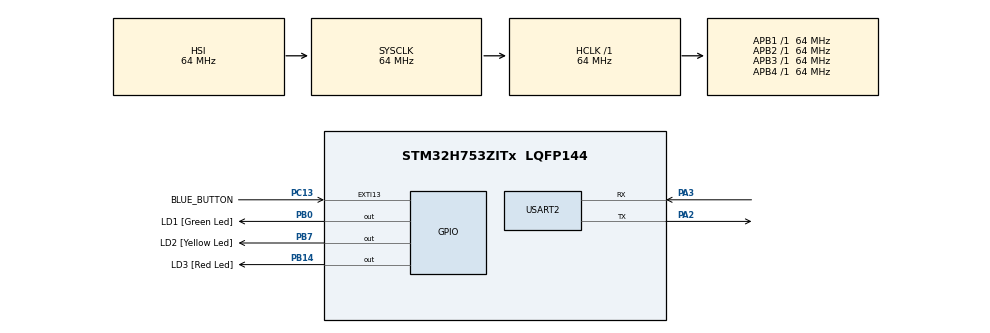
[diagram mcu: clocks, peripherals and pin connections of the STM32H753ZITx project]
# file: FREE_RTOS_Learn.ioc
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CORTEX_M7.CPU_DCache=Disabled
CORTEX_M7.CPU_ICache=Disabled
CORTEX_M7.MPU_Control=__NULL
CORTEX_M7.default_mode_Activation=1
FREERTOS.CountingSemaphores01=myCountingSem01,2,Dynamic,NULL,0
FREERTOS.Tasks01=Task1,24,256,StartTask1,Default,NULL,Dynamic,NULL,NULL;Task2,24,256,StartTask2,Default,NULL,Dynamic,NULL,NULL;Task3,24,256,StartTask3,Default,NULL,Dynamic,NULL,NULL
FREERTOS.configUSE_NEWLIB_REENTRANT=0
Mcu.Family=STM32H7
Mcu.Name=STM32H753ZITx
Mcu.Package=LQFP144
NVIC.EXTI15_10_IRQn=true\:5\:0\:false\:false\:true\:true\:true\:true\:true
NVIC.PriorityGroup=NVIC_PRIORITYGROUP_4
NVIC.TIM6_DAC_IRQn=true\:15\:0\:false\:false\:true\:false\:false\:true\:true
NVIC.TimeBase=TIM6_DAC_IRQn
NVIC.TimeBaseIP=TIM6
PA13\ (JTMS/SWDIO).Mode=Trace_Asynchronous_SW
PA13\ (JTMS/SWDIO).Signal=DEBUG_JTMS-SWDIO
PA14\ (JTCK/SWCLK).Mode=Trace_Asynchronous_SW
PA14\ (JTCK/SWCLK).Signal=DEBUG_JTCK-SWCLK
PA2.Mode=Asynchronous
PA2.Signal=USART2_TX
PA3.Mode=Asynchronous
PA3.Signal=USART2_RX
PB0.GPIO_Label=LD1 [Green Led]
PB0.Signal=GPIO_Output
PB14.GPIO_Label=LD3 [Red Led]
PB14.Signal=GPIO_Output
PB3\ (JTDO/TRACESWO).Mode=Trace_Asynchronous_SW
PB3\ (JTDO/TRACESWO).Signal=DEBUG_JTDO-SWO
PB7.GPIO_Label=LD2 [Yellow Led]
PB7.Signal=GPIO_Output
PC13.GPIO_Label=BLUE_BUTTON
PC13.Signal=GPXTI13
PC14-OSC32_IN\ (OSC32_IN).Signal=RCC_OSC32_IN
PC15-OSC32_OUT\ (OSC32_OUT).Signal=RCC_OSC32_OUT
PD8.GPIO_Label=STLINK_RX
PD8.Signal=USART3_TX
PD9.GPIO_Label=STLINK_TX
PD9.Signal=USART3_RX
PH0-OSC_IN\ (PH0).Signal=RCC_OSC_IN
PH1-OSC_OUT\ (PH1).Signal=RCC_OSC_OUT
ProjectManager.HeapSize=0x200
ProjectManager.StackSize=0x400
ProjectManager.TargetToolchain=STM32CubeIDE
RCC.ADCFreq_Value=129000000
RCC.APB1Freq_Value=64000000
RCC.APB2Freq_Value=64000000
RCC.APB3Freq_Value=64000000
RCC.APB4Freq_Value=64000000
RCC.CortexFreq_Value=64000000
RCC.DIVM1=1
RCC.DIVN1=24
RCC.DIVQ1=4
RCC.DIVR1=6
RCC.HCLKFreq_Value=64000000
RCC.HSE_VALUE=8000000
RCC.PLLFRACN=0
RCC.PWR_Regulator_Voltage_Scale=PWR_REGULATOR_VOLTAGE_SCALE2
RCC.SYSCLKFreq_VALUE=64000000
RCC.USBFreq_Value=384000000
USART2.DMADisableonRxErrorParam=ADVFEATURE_DMA_DISABLEONRXERROR
USART2.OverrunDisableParam=ADVFEATURE_OVERRUN_DISABLE
USART2.VirtualMode-Asynchronous=VM_ASYNC
VP_FREERTOS_VS_CMSIS_V2.Mode=CMSIS_V2
VP_MEMORYMAP_VS_MEMORYMAP.Mode=CurAppReg
VP_SYS_VS_tim6.Mode=TIM6
board=NUCLEO-H753ZI

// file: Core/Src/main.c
/* USER CODE BEGIN Header */
/**
  ******************************************************************************
  * @file           : main.c
  * @brief          : Main program body
  ******************************************************************************
  * @attention
  *
  * Copyright (c) 2026 STMicroelectronics.
  * All rights reserved.
  *
  * This software is licensed under terms that can be found in the LICENSE file
  * in the root directory of this software component.
  * If no LICENSE file comes with this software, it is provided AS-IS.
  *
  ******************************************************************************
  */
/* USER CODE END Header */
#include "main.h"
#include "cmsis_os.h"

UART_HandleTypeDef huart2;

/* Definitions for Task1 */
osThreadId_t Task1Handle;
const osThreadAttr_t Task1_attributes = {
  .name = "Task1",
  .stack_size = 256 * 4,
  .priority = (osPriority_t) osPriorityNormal,
};
/* Definitions for Task2 */
osThreadId_t Task2Handle;
const osThreadAttr_t Task2_attributes = {
  .name = "Task2",
  .stack_size = 256 * 4,
  .priority = (osPriority_t) osPriorityNormal,
};
/* Definitions for Task3 */
osThreadId_t Task3Handle;
const osThreadAttr_t Task3_attributes = {
  .name = "Task3",
  .stack_size = 256 * 4,
  .priority = (osPriority_t) osPriorityNormal,
};
/* Definitions for myCountingSem01 */
osSemaphoreId_t myCountingSem01Handle;
const osSemaphoreAttr_t myCountingSem01_attributes = {
  .name = "myCountingSem01"
};

void SystemClock_Config(void);
static void MX_GPIO_Init(void);
static void MX_USART2_UART_Init(void);
void StartTask1(void *argument);
void StartTask2(void *argument);
void StartTask3(void *argument);

/* USER CODE BEGIN PFP */
void Task_action(char message);
/* USER CODE END PFP */

int main(void)
{

  /* MCU Configuration--------------------------------------------------------*/

  /* Reset of all peripherals, Initializes the Flash interface and the Systick. */
  HAL_Init();

  /* Configure the system clock */
  SystemClock_Config();

  /* Initialize all configured peripherals */
  MX_GPIO_Init();
  MX_USART2_UART_Init();

  /* Init scheduler */
  osKernelInitialize();

  /* Create the semaphores(s) */
  /* creation of myCountingSem01 */
  myCountingSem01Handle = osSemaphoreNew(2, 0, &myCountingSem01_attributes);

  /* Create the thread(s) */
  /* creation of Task1 */
  Task1Handle = osThreadNew(StartTask1, NULL, &Task1_attributes);

  /* creation of Task2 */
  Task2Handle = osThreadNew(StartTask2, NULL, &Task2_attributes);

  /* creation of Task3 */
  Task3Handle = osThreadNew(StartTask3, NULL, &Task3_attributes);

  /* Start scheduler */
  osKernelStart();

  /* We should never get here as control is now taken by the scheduler */

  /* Infinite loop */
  while (1)
  {

  }
}

void SystemClock_Config(void)
{
  RCC_OscInitTypeDef RCC_OscInitStruct = {0};
  RCC_ClkInitTypeDef RCC_ClkInitStruct = {0};

  /** Supply configuration update enable
  */
  HAL_PWREx_ConfigSupply(PWR_LDO_SUPPLY);

  /** Configure the main internal regulator output voltage
  */
  __HAL_PWR_VOLTAGESCALING_CONFIG(PWR_REGULATOR_VOLTAGE_SCALE2);

  while(!__HAL_PWR_GET_FLAG(PWR_FLAG_VOSRDY)) {}

  /** Initializes the RCC Oscillators according to the specified parameters
  * in the RCC_OscInitTypeDef structure.
  */
  RCC_OscInitStruct.OscillatorType = RCC_OSCILLATORTYPE_HSI;
  RCC_OscInitStruct.HSIState = RCC_HSI_DIV1;
  RCC_OscInitStruct.HSICalibrationValue = RCC_HSICALIBRATION_DEFAULT;
  RCC_OscInitStruct.PLL.PLLState = RCC_PLL_NONE;
  if (HAL_RCC_OscConfig(&RCC_OscInitStruct) != HAL_OK)
  {
    Error_Handler();
  }

  /** Initializes the CPU, AHB and APB buses clocks
  */
  RCC_ClkInitStruct.ClockType = RCC_CLOCKTYPE_HCLK|RCC_CLOCKTYPE_SYSCLK
                              |RCC_CLOCKTYPE_PCLK1|RCC_CLOCKTYPE_PCLK2
                              |RCC_CLOCKTYPE_D3PCLK1|RCC_CLOCKTYPE_D1PCLK1;
  RCC_ClkInitStruct.SYSCLKSource = RCC_SYSCLKSOURCE_HSI;
  RCC_ClkInitStruct.SYSCLKDivider = RCC_SYSCLK_DIV1;
  RCC_ClkInitStruct.AHBCLKDivider = RCC_HCLK_DIV1;
  RCC_ClkInitStruct.APB3CLKDivider = RCC_APB3_DIV1;
  RCC_ClkInitStruct.APB1CLKDivider = RCC_APB1_DIV1;
  RCC_ClkInitStruct.APB2CLKDivider = RCC_APB2_DIV1;
  RCC_ClkInitStruct.APB4CLKDivider = RCC_APB4_DIV1;

  if (HAL_RCC_ClockConfig(&RCC_ClkInitStruct, FLASH_LATENCY_1) != HAL_OK)
  {
    Error_Handler();
  }
}

static void MX_USART2_UART_Init(void)
{

  huart2.Instance = USART2;
  huart2.Init.BaudRate = 115200;
  huart2.Init.WordLength = UART_WORDLENGTH_8B;
  huart2.Init.StopBits = UART_STOPBITS_1;
  huart2.Init.Parity = UART_PARITY_NONE;
  huart2.Init.Mode = UART_MODE_TX_RX;
  huart2.Init.HwFlowCtl = UART_HWCONTROL_NONE;
  huart2.Init.OverSampling = UART_OVERSAMPLING_16;
  huart2.Init.OneBitSampling = UART_ONE_BIT_SAMPLE_DISABLE;
  huart2.Init.ClockPrescaler = UART_PRESCALER_DIV1;
  huart2.AdvancedInit.AdvFeatureInit = UART_ADVFEATURE_RXOVERRUNDISABLE_INIT|UART_ADVFEATURE_DMADISABLEONERROR_INIT;
  huart2.AdvancedInit.OverrunDisable = UART_ADVFEATURE_OVERRUN_DISABLE;
  huart2.AdvancedInit.DMADisableonRxError = UART_ADVFEATURE_DMA_DISABLEONRXERROR;
  if (HAL_UART_Init(&huart2) != HAL_OK)
  {
    Error_Handler();
  }
  if (HAL_UARTEx_SetTxFifoThreshold(&huart2, UART_TXFIFO_THRESHOLD_1_8) != HAL_OK)
  {
    Error_Handler();
  }
  if (HAL_UARTEx_SetRxFifoThreshold(&huart2, UART_RXFIFO_THRESHOLD_1_8) != HAL_OK)
  {
    Error_Handler();
  }
  if (HAL_UARTEx_DisableFifoMode(&huart2) != HAL_OK)
  {
    Error_Handler();
  }

}

static void MX_GPIO_Init(void)
{
  GPIO_InitTypeDef GPIO_InitStruct = {0};

  /* GPIO Ports Clock Enable */
  __HAL_RCC_GPIOC_CLK_ENABLE();
  __HAL_RCC_GPIOH_CLK_ENABLE();
  __HAL_RCC_GPIOA_CLK_ENABLE();
  __HAL_RCC_GPIOB_CLK_ENABLE();
  __HAL_RCC_GPIOD_CLK_ENABLE();

  /*Configure GPIO pin Output Level */
  HAL_GPIO_WritePin(GPIOB, LD1_Pin|LD3_Pin|LD2_Pin, GPIO_PIN_RESET);

  /*Configure GPIO pin : BLUE_BUTTON_Pin */
  GPIO_InitStruct.Pin = BLUE_BUTTON_Pin;
  GPIO_InitStruct.Mode = GPIO_MODE_IT_RISING;
  GPIO_InitStruct.Pull = GPIO_NOPULL;
  HAL_GPIO_Init(BLUE_BUTTON_GPIO_Port, &GPIO_InitStruct);

  /*Configure GPIO pins : LD1_Pin LD3_Pin LD2_Pin */
  GPIO_InitStruct.Pin = LD1_Pin|LD3_Pin|LD2_Pin;
  GPIO_InitStruct.Mode = GPIO_MODE_OUTPUT_PP;
  GPIO_InitStruct.Pull = GPIO_NOPULL;
  GPIO_InitStruct.Speed = GPIO_SPEED_FREQ_LOW;
  HAL_GPIO_Init(GPIOB, &GPIO_InitStruct);

  /*Configure GPIO pins : STLINK_RX_Pin STLINK_TX_Pin */
  GPIO_InitStruct.Pin = STLINK_RX_Pin|STLINK_TX_Pin;
  GPIO_InitStruct.Mode = GPIO_MODE_AF_PP;
  GPIO_InitStruct.Pull = GPIO_NOPULL;
  GPIO_InitStruct.Speed = GPIO_SPEED_FREQ_LOW;
  GPIO_InitStruct.Alternate = GPIO_AF7_USART3;
  HAL_GPIO_Init(GPIOD, &GPIO_InitStruct);

  /* EXTI interrupt init*/
  HAL_NVIC_SetPriority(BLUE_BUTTON_EXTI_IRQn, 5, 0);
  HAL_NVIC_EnableIRQ(BLUE_BUTTON_EXTI_IRQn);

}

/* USER CODE BEGIN 4 */
void Task_action(char message)
{
	ITM_SendChar(message);
	ITM_SendChar('\n');
}

void HAL_GPIO_EXTI_Callback(uint16_t GPIO_Pin){
	Task_action('!');
	osSemaphoreRelease(myCountingSem01Handle);
}
/* USER CODE END 4 */

void StartTask1(void *argument)
{
  /* USER CODE BEGIN 5 */
  /* Infinite loop */
  for(;;)
  {
	  osSemaphoreRelease(myCountingSem01Handle);
	  Task_action('1');
	  osDelay(2000);
  }
  /* USER CODE END 5 */
}

void StartTask2(void *argument)
{
  /* USER CODE BEGIN StartTask2 */
  /* Infinite loop */
  for(;;)
  {
	  osSemaphoreRelease(myCountingSem01Handle);
	  Task_action('2');
	  osDelay(2000);

  }
  /* USER CODE END StartTask2 */
}

void StartTask3(void *argument)
{
  /* USER CODE BEGIN StartTask3 */
  /* Infinite loop */
  for(;;)
  {
	osSemaphoreAcquire(myCountingSem01Handle, 4000);
	osSemaphoreAcquire(myCountingSem01Handle, 4000);
	Task_action('3');
	osDelay(1);
  }
  /* USER CODE END StartTask3 */
}

void HAL_TIM_PeriodElapsedCallback(TIM_HandleTypeDef *htim)
{
  if (htim->Instance == TIM6)
  {
    HAL_IncTick();
  }
}

void Error_Handler(void)
{
  __disable_irq();
  while (1)
  {
  }
}
